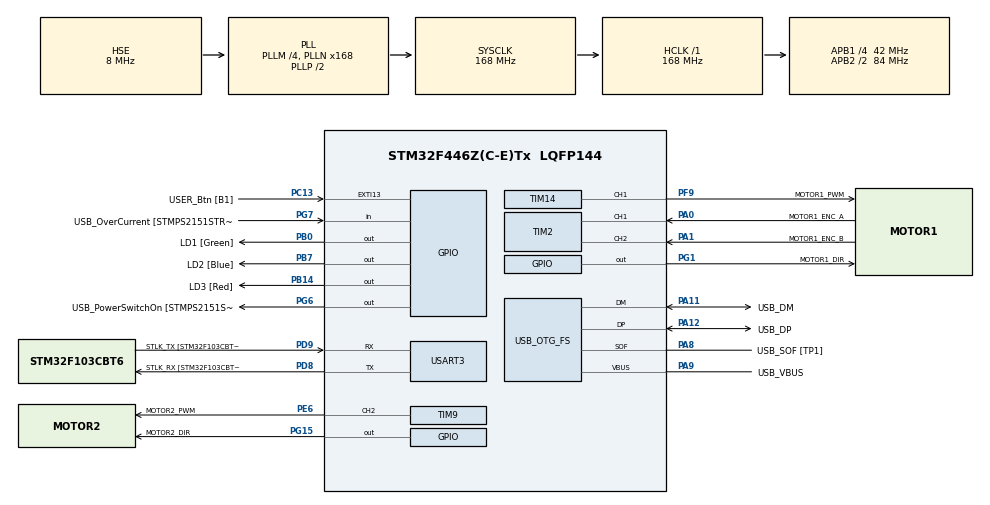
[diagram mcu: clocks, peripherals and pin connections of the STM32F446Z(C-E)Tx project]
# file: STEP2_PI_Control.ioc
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Mcu.Family=STM32F4
Mcu.Name=STM32F446Z(C-E)Tx
Mcu.Package=LQFP144
NVIC.PriorityGroup=NVIC_PRIORITYGROUP_4
NVIC.TIM6_DAC_IRQn=true\:0\:0\:false\:false\:true\:true\:true\:true
PA0-WKUP.GPIO_Label=MOTOR1_ENC_A
PA0-WKUP.GPIO_PuPd=GPIO_PULLUP
PA0-WKUP.Signal=S_TIM2_CH1_ETR
PA1.GPIO_Label=MOTOR1_ENC_B
PA1.GPIO_PuPd=GPIO_PULLUP
PA1.Signal=S_TIM2_CH2
PA10.GPIO_Label=USB_ID
PA10.Signal=USB_OTG_FS_ID
PA11.GPIO_Label=USB_DM
PA11.Mode=Device_Only
PA11.Signal=USB_OTG_FS_DM
PA12.GPIO_Label=USB_DP
PA12.Mode=Device_Only
PA12.Signal=USB_OTG_FS_DP
PA13.GPIO_Label=TMS
PA13.Mode=Serial_Wire
PA13.Signal=SYS_JTMS-SWDIO
PA14.GPIO_Label=TCK
PA14.Mode=Serial_Wire
PA14.Signal=SYS_JTCK-SWCLK
PA8.GPIO_Label=USB_SOF [TP1]
PA8.Mode=Activate_SOF_FS
PA8.Signal=USB_OTG_FS_SOF
PA9.GPIO_Label=USB_VBUS
PA9.Mode=Activate_VBUS
PA9.Signal=USB_OTG_FS_VBUS
PB0.GPIO_Label=LD1 [Green]
PB0.Signal=GPIO_Output
PB14.GPIO_Label=LD3 [Red]
PB14.Signal=GPIO_Output
PB7.GPIO_Label=LD2 [Blue]
PB7.Signal=GPIO_Output
PC13.GPIO_Label=USER_Btn [B1]
PC13.Signal=GPXTI13
PC14-OSC32_IN.Mode=LSE-External-Oscillator
PC14-OSC32_IN.Signal=RCC_OSC32_IN
PC15-OSC32_OUT.Mode=LSE-External-Oscillator
PC15-OSC32_OUT.Signal=RCC_OSC32_OUT
PD8.GPIO_Label=STLK_RX [STM32F103CBT6_PA3]
PD8.Mode=Asynchronous
PD8.Signal=USART3_TX
PD9.GPIO_Label=STLK_TX [STM32F103CBT6_PA2]
PD9.Mode=Asynchronous
PD9.Signal=USART3_RX
PE6.GPIO_Label=MOTOR2_PWM
PE6.GPIO_ModeDefaultPP=GPIO_MODE_AF_PP
PE6.GPIO_PuPd=GPIO_NOPULL
PE6.GPIO_Speed=GPIO_SPEED_FREQ_VERY_HIGH
PE6.Signal=S_TIM9_CH2
PF9.GPIO_Label=MOTOR1_PWM
PF9.GPIO_Speed=GPIO_SPEED_FREQ_VERY_HIGH
PF9.Signal=S_TIM14_CH1
PG1.GPIO_Label=MOTOR1_DIR
PG1.Signal=GPIO_Output
PG15.GPIO_Label=MOTOR2_DIR
PG15.Signal=GPIO_Output
PG6.GPIO_Label=USB_PowerSwitchOn [STMPS2151STR_EN]
PG6.Signal=GPIO_Output
PG7.GPIO_Label=USB_OverCurrent [STMPS2151STR_FAULT]
PG7.Signal=GPIO_Input
PH0-OSC_IN.GPIO_Label=MCO [STM32F103CBT6_PA8]
PH0-OSC_IN.Mode=HSE-External-Clock-Source
PH0-OSC_IN.Signal=RCC_OSC_IN
PH1-OSC_OUT.Mode=HSE-External-Clock-Source
PH1-OSC_OUT.Signal=RCC_OSC_OUT
ProjectManager.HeapSize=0x200
ProjectManager.StackSize=0x400
ProjectManager.TargetToolchain=STM32CubeIDE
RCC.48MHZClocksFreq_Value=24000000
RCC.AHBFreq_Value=168000000
RCC.APB1CLKDivider=RCC_HCLK_DIV4
RCC.APB1Freq_Value=42000000
RCC.APB1TimFreq_Value=84000000
RCC.APB2CLKDivider=RCC_HCLK_DIV2
RCC.APB2Freq_Value=84000000
RCC.APB2TimFreq_Value=168000000
RCC.CortexFreq_Value=168000000
RCC.HCLKFreq_Value=168000000
RCC.HSE_VALUE=8000000
RCC.HSI_VALUE=16000000
RCC.PLLM=4
RCC.PLLMUL=RCC_PLL_MUL9
RCC.PLLN=168
RCC.PLLQ=7
RCC.PRESCALERUSB=RCC_USBCLKSOURCE_PLL_DIV1_5
RCC.SYSCLKFreq_VALUE=168000000
RCC.SYSCLKSource=RCC_SYSCLKSOURCE_PLLCLK
RCC.SYSCLKSourceVirtual=RCC_SYSCLKSOURCE_PLLCLK
RCC.USBFreq_Value=48000000
RCC.VCOOutputFreq_Value=336000000
SH.S_TIM14_CH1.0=TIM14_CH1,PWM Generation1 CH1
SH.S_TIM2_CH1_ETR.0=TIM2_CH1,Encoder_Interface
SH.S_TIM2_CH2.0=TIM2_CH2,Encoder_Interface
SH.S_TIM9_CH2.0=TIM9_CH2,PWM Generation2 CH2
TIM14.Channel=TIM_CHANNEL_1
TIM14.Period=599
TIM14.Prescaler=6
TIM2.IC1Polarity=TIM_ICPOLARITY_FALLING
TIM2.IC2Polarity=TIM_ICPOLARITY_RISING
TIM6.Period=999
TIM6.Prescaler=8399
TIM9.Channel-PWM\ Generation2\ CH2=TIM_CHANNEL_2
TIM9.Period=1199
TIM9.Prescaler=6
USART3.VirtualMode=VM_ASYNC
USB_OTG_FS.VirtualMode=Device_Only
VP_TIM14_VS_ClockSourceINT.Mode=Enable_Timer
VP_TIM6_VS_ClockSourceINT.Mode=Enable_Timer
board=NUCLEO-F446ZE

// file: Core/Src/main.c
/* USER CODE BEGIN Header */
/**
  ******************************************************************************
  * @file           : main.c
  * @brief          : Main program body
  ******************************************************************************
  * @attention
  *
  * Copyright (c) 2026 STMicroelectronics.
  * All rights reserved.
  *
  * This software is licensed under terms that can be found in the LICENSE file
  * in the root directory of this software component.
  * If no LICENSE file comes with this software, it is provided AS-IS.
  *
  ******************************************************************************
  */
/* USER CODE END Header */
#include "main.h"
#include "tim.h"
#include "usart.h"
#include "usb_otg.h"
#include "gpio.h"

/* USER CODE BEGIN Includes */
#include <stdint.h>
/* USER CODE END Includes */

/* USER CODE BEGIN PTD */
typedef struct {
	float Kp;			// 비례 이득
	float Ki;			// 적분 이득
	float dt;			// 제어 주기
	float error_sum;	// 적분 항목을 위한 최대 오차 누적값
	float max_output;	// 제어 출력 최대 한계치
	float min_output;	// 제어 출력 최소 한계치
} PI_Controller;
/* USER CODE END PTD */

/* USER CODE BEGIN PV */
PI_Controller motor1_pi;
volatile float target_rpm = 3.0f;
float current_rpm = 0.0f;
uint32_t current_count = 0;
uint32_t last_count = 0;
/* USER CODE END PV */

void SystemClock_Config(void);
/* USER CODE BEGIN PFP */
void SetMotor1SpeedPwm(int16_t pulse_value);
void PI_Init(PI_Controller *pi, float kp, float ki, float dt, float max_out, float min_out);
float PI_Update(PI_Controller *pi, float target, float current);
void PI_reset(PI_Controller *pi);
/* USER CODE END PFP */

int main(void)
{

  /* MCU Configuration--------------------------------------------------------*/

  /* Reset of all peripherals, Initializes the Flash interface and the Systick. */
  HAL_Init();

  /* Configure the system clock */
  SystemClock_Config();

  /* Initialize all configured peripherals */
  MX_GPIO_Init();
  MX_TIM2_Init();
  MX_USART3_UART_Init();
  MX_USB_OTG_FS_PCD_Init();
  MX_TIM9_Init();
  MX_TIM14_Init();
  MX_TIM6_Init();
  /* USER CODE BEGIN 2 */
  PI_Init(&motor1_pi, 0.5f, 2.0f, 0.1f, 599.0f, -599.0f);

  HAL_TIM_Encoder_Start(&htim2, TIM_CHANNEL_ALL);
  HAL_TIM_PWM_Start(&htim14, TIM_CHANNEL_1); // 모터 1
  HAL_TIM_Base_Start_IT(&htim6); // 100ms 주기 타이머 인터럽트 시작
  /* USER CODE END 2 */

  /* Infinite loop */
  while (1)
  {

  }
}

void SystemClock_Config(void)
{
  RCC_OscInitTypeDef RCC_OscInitStruct = {0};
  RCC_ClkInitTypeDef RCC_ClkInitStruct = {0};

  /** Configure the main internal regulator output voltage
  */
  __HAL_RCC_PWR_CLK_ENABLE();
  __HAL_PWR_VOLTAGESCALING_CONFIG(PWR_REGULATOR_VOLTAGE_SCALE1);

  /** Initializes the RCC Oscillators according to the specified parameters
  * in the RCC_OscInitTypeDef structure.
  */
  RCC_OscInitStruct.OscillatorType = RCC_OSCILLATORTYPE_HSE;
  RCC_OscInitStruct.HSEState = RCC_HSE_BYPASS;
  RCC_OscInitStruct.PLL.PLLState = RCC_PLL_ON;
  RCC_OscInitStruct.PLL.PLLSource = RCC_PLLSOURCE_HSE;
  RCC_OscInitStruct.PLL.PLLM = 4;
  RCC_OscInitStruct.PLL.PLLN = 168;
  RCC_OscInitStruct.PLL.PLLP = RCC_PLLP_DIV2;
  RCC_OscInitStruct.PLL.PLLQ = 7;
  RCC_OscInitStruct.PLL.PLLR = 2;
  if (HAL_RCC_OscConfig(&RCC_OscInitStruct) != HAL_OK)
  {
    Error_Handler();
  }

  /** Initializes the CPU, AHB and APB buses clocks
  */
  RCC_ClkInitStruct.ClockType = RCC_CLOCKTYPE_HCLK|RCC_CLOCKTYPE_SYSCLK
                              |RCC_CLOCKTYPE_PCLK1|RCC_CLOCKTYPE_PCLK2;
  RCC_ClkInitStruct.SYSCLKSource = RCC_SYSCLKSOURCE_PLLCLK;
  RCC_ClkInitStruct.AHBCLKDivider = RCC_SYSCLK_DIV1;
  RCC_ClkInitStruct.APB1CLKDivider = RCC_HCLK_DIV4;
  RCC_ClkInitStruct.APB2CLKDivider = RCC_HCLK_DIV2;

  if (HAL_RCC_ClockConfig(&RCC_ClkInitStruct, FLASH_LATENCY_5) != HAL_OK)
  {
    Error_Handler();
  }
}

/* USER CODE BEGIN 4 */
void SetMotor1SpeedPwm(int16_t pulse_value)
{
	if (pulse_value > 599) pulse_value = 599;
	if (pulse_value < -599) pulse_value = -599;

	if (pulse_value >= 0)
	{
		HAL_GPIO_WritePin(MOTOR1_DIR_GPIO_Port, MOTOR1_DIR_Pin, GPIO_PIN_SET);   // 정방향
		__HAL_TIM_SET_COMPARE(&htim14, TIM_CHANNEL_1, pulse_value);
	}
	else
	{
		HAL_GPIO_WritePin(MOTOR1_DIR_GPIO_Port, MOTOR1_DIR_Pin, GPIO_PIN_RESET);   // 역방향
		__HAL_TIM_SET_COMPARE(&htim14, TIM_CHANNEL_1, -pulse_value);
	}
}

void PI_Init(PI_Controller *pi, float kp, float ki, float dt, float max_out, float min_out)
{
	pi->Kp = kp;
	pi->Ki = ki;
	pi->dt = dt;
	pi->error_sum = 0.0;
	pi->max_output = max_out;
	pi->min_output = min_out;
}

float PI_Update(PI_Controller *pi, float target, float current)
{
	float error = target - current;

	float p_term = pi->Kp * error;

	pi->error_sum += error * pi->dt;
	float i_term = pi->Ki * pi->error_sum;

	float output = p_term + i_term;

	if (output > pi->max_output)
	{
		output = pi->max_output;

		pi->error_sum -= error * pi->dt;
	}
	else if (output < pi -> min_output)
	{
		output = pi->min_output;
		pi->error_sum -= error * pi->dt;
	}

	return output;
}

void PI_reset(PI_Controller *pi)
{
	pi->error_sum = 0.0;
}

void HAL_TIM_PeriodElapsedCallback(TIM_HandleTypeDef *htim)
{ // 100ms 주기가 도래했을 때
	if (htim->Instance == TIM6)
	{
		// 1. 엔코더 레지스터에서 현재 카운트 정밀 수집
		current_count = TIM2->CNT;

		// 2. 2의 보수 연산을 통한 변위(Delta) 추출 (오버플로우 자동 처리)
		int32_t delta_count = (int32_t)(current_count - last_count);
		last_count = current_count;

		// 3. 델타 카운트를 현재 출력축 RPM으로 변환
		// 공식: (delta / (CPR * 기어비)) * (60초 / 0.1초)
		// 예시 수치: 26 CPR, 100:1 기어 기준
		float cpr = 26.0f;
		float gear_ratio = 100.0f;
		current_rpm = ((float)delta_count / (cpr * gear_ratio)) * 600.0f;

		// 4. PI 제어기 업데이트 수행 ➡️ 출력값은 듀티비 정수 펄스로 환산됨 (-599 ~ 599)
		float control_output = PI_Update(&motor1_pi, target_rpm, current_rpm);

		// 5. 앞서 구현한 오픈 루프 함수에 제어 출력 대입하여 모터 전압 인가
		SetMotor1SpeedPwm((int16_t)control_output);
	}
}
/* USER CODE END 4 */

void Error_Handler(void)
{
  __disable_irq();
  while (1)
  {
  }
}
